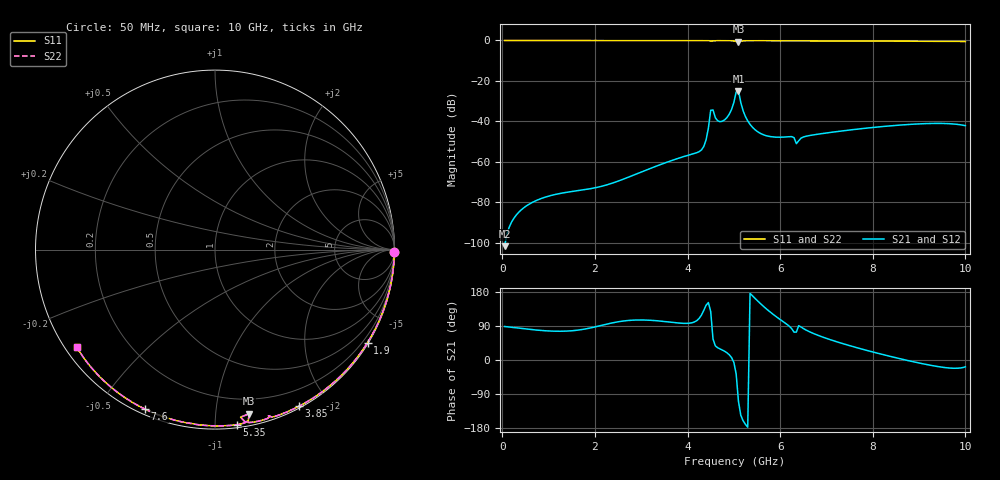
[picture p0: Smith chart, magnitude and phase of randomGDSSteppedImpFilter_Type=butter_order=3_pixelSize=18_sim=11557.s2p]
! freq	dB(S11)	phase(S11)	dB(S12)	phase(S12)
!  dB(S21)	phase(S21)	dB(S22)	phase(S22)
!S-par simulation data
#  GHz  S  DB  R 50
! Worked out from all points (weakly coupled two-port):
!   200 points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, 50 MHz to 10 GHz, reference 50 ohm
!   highest |S21| = -24.93 dB at 5.1 GHz (marker M1); lowest = -101.6 dB at 50 MHz (marker M2)
!   lowest |S11| = -0.6 dB at 5.1 GHz (marker M3), VSWR 29.29, Z = 4.29 - j61.4 ohm
!   |S11| at or under -10 dB: nowhere
!   |S22| runs from -0.6 to 0.0 dB; largest |S21 - S12| = 0
!   S11 on the Smith chart (normalised r, x): 50 MHz: open; 1.9 GHz: 0.03, -3.56; 3.85 GHz: 0.02, -1.67; 5.35 GHz: 0.02, -1.13; 7.6 GHz: 0.02, -0.65; 10 GHz: 0.03, -0.32
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0.05  -0.00 -0.8  -101.59 88.4  -101.59 88.4  -0.00 -0.8
1.75  -0.04 -28.9  -73.77 81.0  -73.77 81.0  -0.04 -28.9
1.9  -0.04 -31.4  -73.22 84.5  -73.22 84.5  -0.04 -31.4
3.4  -0.07 -55.0  -61.42 102.9  -61.42 102.9  -0.07 -55.0
3.85  -0.09 -61.9  -57.83 97.2  -57.83 97.2  -0.08 -61.9
4.3  -0.10 -68.8  -54.08 118.4  -54.08 118.4  -0.10 -68.7
4.4  -0.11 -70.4  -49.12 144.4  -49.12 144.4  -0.11 -70.4
4.5  -0.25 -72.2  -34.50 128.2  -34.50 128.2  -0.24 -72.2
4.65  -0.12 -73.6  -39.66 32.4  -39.66 32.4  -0.12 -73.6
4.8  -0.12 -76.1  -39.22 23.2  -39.22 23.2  -0.12 -76.1
4.95  -0.16 -78.8  -34.12 6.5  -34.12 6.5  -0.16 -78.8
5.05  -0.50 -81.3  -25.46 -36.8  -25.46 -36.8  -0.50 -81.3
5.1  -0.59 -78.2  -24.93 -109.2  -24.93 -109.2  -0.59 -78.1
5.2  -0.18 -80.3  -34.71 -160.4  -34.71 -160.4  -0.18 -80.2
5.35  -0.15 -83.0  -41.46 176.0  -41.46 176.0  -0.15 -82.9
5.7  -0.15 -88.2  -47.03 135.2  -47.03 135.2  -0.15 -88.1
6.25  -0.18 -95.9  -47.51 82.7  -47.51 82.7  -0.18 -95.8
6.35  -0.19 -97.2  -50.96 73.7  -50.96 73.7  -0.19 -97.2
6.7  -0.20 -101.9  -46.69 70.9  -46.69 70.9  -0.20 -101.9
7.6  -0.26 -113.8  -43.96 34.4  -43.96 34.4  -0.26 -113.8
8.35  -0.32 -123.5  -42.23 10.3  -42.23 10.3  -0.32 -123.4
10  -0.52 -144.8  -42.07 -18.0  -42.07 -18.0  -0.51 -144.8
